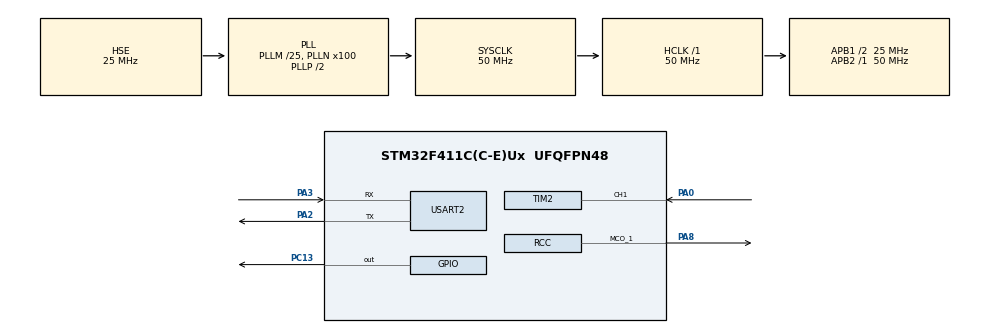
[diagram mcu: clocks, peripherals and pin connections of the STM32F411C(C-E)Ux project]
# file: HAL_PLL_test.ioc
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Mcu.Family=STM32F4
Mcu.Name=STM32F411C(C-E)Ux
Mcu.Package=UFQFPN48
NVIC.PriorityGroup=NVIC_PRIORITYGROUP_4
NVIC.TIM2_IRQn=true\:0\:0\:false\:false\:true\:true\:true\:true
PA0-WKUP.GPIO_Speed=GPIO_SPEED_FREQ_VERY_HIGH
PA0-WKUP.Signal=S_TIM2_CH1_ETR
PA2.Mode=Asynchronous
PA2.Signal=USART2_TX
PA3.Mode=Asynchronous
PA3.Signal=USART2_RX
PA8.GPIO_Speed=GPIO_SPEED_FREQ_VERY_HIGH
PA8.Mode=Clock-out-1
PA8.Signal=RCC_MCO_1
PC13-ANTI_TAMP.Signal=GPIO_Output
PC14-OSC32_IN.Mode=LSE-External-Oscillator
PC14-OSC32_IN.Signal=RCC_OSC32_IN
PC15-OSC32_OUT.Mode=LSE-External-Oscillator
PC15-OSC32_OUT.Signal=RCC_OSC32_OUT
PH0\ -\ OSC_IN.Mode=HSE-External-Oscillator
PH0\ -\ OSC_IN.Signal=RCC_OSC_IN
PH1\ -\ OSC_OUT.Mode=HSE-External-Oscillator
PH1\ -\ OSC_OUT.Signal=RCC_OSC_OUT
ProjectManager.HeapSize=0x200
ProjectManager.StackSize=0x400
ProjectManager.TargetToolchain=CMake
RCC.48MHZClocksFreq_Value=25000000
RCC.AHBFreq_Value=50000000
RCC.APB1CLKDivider=RCC_HCLK_DIV2
RCC.APB1Freq_Value=25000000
RCC.APB1TimFreq_Value=50000000
RCC.APB2Freq_Value=50000000
RCC.APB2TimFreq_Value=50000000
RCC.CortexFreq_Value=50000000
RCC.HCLKFreq_Value=50000000
RCC.HSE_VALUE=25000000
RCC.HSI_VALUE=16000000
RCC.PLLM=25
RCC.PLLN=100
RCC.PLLSourceVirtual=RCC_PLLSOURCE_HSE
RCC.RCC_MCO1Source=RCC_MCO1SOURCE_LSE
RCC.SYSCLKFreq_VALUE=50000000
RCC.SYSCLKSource=RCC_SYSCLKSOURCE_PLLCLK
RCC.VCOOutputFreq_Value=100000000
SH.S_TIM2_CH1_ETR.0=TIM2_CH1,Input_Capture1_from_TI1
TIM2.AutoReloadPreload=TIM_AUTORELOAD_PRELOAD_ENABLE
TIM2.Channel-Input_Capture1_from_TI1=TIM_CHANNEL_1
TIM2.Period=49999999
TIM2.Prescaler=0
USART2.VirtualMode=VM_ASYNC
VP_TIM2_VS_ClockSourceINT.Mode=Internal
board=custom

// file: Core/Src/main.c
/* USER CODE BEGIN Header */
/**
  ******************************************************************************
  * @file           : main.c
  * @brief          : Main program body
  ******************************************************************************
  * @attention
  *
  * Copyright (c) 2026 STMicroelectronics.
  * All rights reserved.
  *
  * This software is licensed under terms that can be found in the LICENSE file
  * in the root directory of this software component.
  * If no LICENSE file comes with this software, it is provided AS-IS.
  *
  ******************************************************************************
  */
/* USER CODE END Header */
#include "main.h"

/* USER CODE BEGIN Includes */
#include <stdio.h>
#include <string.h>
/* USER CODE END Includes */

TIM_HandleTypeDef htim2;

UART_HandleTypeDef huart2;

/* USER CODE BEGIN PV */
volatile uint32_t capture_status = 0;
volatile uint32_t capture_diff = 0;
char usr_msg[100];

/* USER CODE END PV */

void SystemClock_Config(void);
static void MX_GPIO_Init(void);
static void MX_TIM2_Init(void);
static void MX_USART2_UART_Init(void);

int main(void)
{

  /* MCU Configuration--------------------------------------------------------*/

  /* Reset of all peripherals, Initializes the Flash interface and the Systick. */
  HAL_Init();

  /* Configure the system clock */
  SystemClock_Config();

  /* Initialize all configured peripherals */
  MX_GPIO_Init();
  MX_TIM2_Init();
  MX_USART2_UART_Init();
  /* USER CODE BEGIN 2 */
  HAL_TIM_IC_Start_IT(&htim2, TIM_CHANNEL_1);
  /* Blocking timer
   * HAL_TIM_Base_Start(&htim2);
   * while(1)
   * {
   *    while(!(TIM2->SR & TIM_SR_UIF));
   *    HAL_GPIO_TogglePin(GPIOC, GPIO_PIN_13);
   *
   * }
   */
  /* USER CODE END 2 */

  /* Infinite loop */
  /* USER CODE BEGIN WHILE */
  while (1)
  {
    if (capture_status)
    {
      if (capture_diff != 0)
      {
        double timer_hz = (double) (HAL_RCC_GetPCLK1Freq() * 2U) / (htim2.Init.Prescaler + 1);
        double signal_freq = timer_hz / capture_diff;

        sprintf(usr_msg, "Frequency = %lu Hz\r\n",(unsigned long) signal_freq);
        HAL_UART_Transmit(&huart2,(uint8_t*)usr_msg,strlen(usr_msg),HAL_MAX_DELAY);
        capture_status = 0;
      }
    }
    /* USER CODE END WHILE */

  }
}

void SystemClock_Config(void)
{
  RCC_OscInitTypeDef RCC_OscInitStruct = {0};
  RCC_ClkInitTypeDef RCC_ClkInitStruct = {0};

  /** Configure the main internal regulator output voltage
  */
  __HAL_RCC_PWR_CLK_ENABLE();
  __HAL_PWR_VOLTAGESCALING_CONFIG(PWR_REGULATOR_VOLTAGE_SCALE1);

  /** Initializes the RCC Oscillators according to the specified parameters
  * in the RCC_OscInitTypeDef structure.
  */
  RCC_OscInitStruct.OscillatorType = RCC_OSCILLATORTYPE_HSE|RCC_OSCILLATORTYPE_LSE;
  RCC_OscInitStruct.HSEState = RCC_HSE_ON;
  RCC_OscInitStruct.LSEState = RCC_LSE_ON;
  RCC_OscInitStruct.PLL.PLLState = RCC_PLL_ON;
  RCC_OscInitStruct.PLL.PLLSource = RCC_PLLSOURCE_HSE;
  RCC_OscInitStruct.PLL.PLLM = 25;
  RCC_OscInitStruct.PLL.PLLN = 100;
  RCC_OscInitStruct.PLL.PLLP = RCC_PLLP_DIV2;
  RCC_OscInitStruct.PLL.PLLQ = 4;
  if (HAL_RCC_OscConfig(&RCC_OscInitStruct) != HAL_OK)
  {
    Error_Handler();
  }

  /** Initializes the CPU, AHB and APB buses clocks
  */
  RCC_ClkInitStruct.ClockType = RCC_CLOCKTYPE_HCLK|RCC_CLOCKTYPE_SYSCLK
                              |RCC_CLOCKTYPE_PCLK1|RCC_CLOCKTYPE_PCLK2;
  RCC_ClkInitStruct.SYSCLKSource = RCC_SYSCLKSOURCE_PLLCLK;
  RCC_ClkInitStruct.AHBCLKDivider = RCC_SYSCLK_DIV1;
  RCC_ClkInitStruct.APB1CLKDivider = RCC_HCLK_DIV2;
  RCC_ClkInitStruct.APB2CLKDivider = RCC_HCLK_DIV1;

  if (HAL_RCC_ClockConfig(&RCC_ClkInitStruct, FLASH_LATENCY_1) != HAL_OK)
  {
    Error_Handler();
  }
  HAL_RCC_MCOConfig(RCC_MCO1, RCC_MCO1SOURCE_LSE, RCC_MCODIV_1);
}

static void MX_TIM2_Init(void)
{

  TIM_ClockConfigTypeDef sClockSourceConfig = {0};
  TIM_MasterConfigTypeDef sMasterConfig = {0};
  TIM_IC_InitTypeDef sConfigIC = {0};

  htim2.Instance = TIM2;
  htim2.Init.Prescaler = 0;
  htim2.Init.CounterMode = TIM_COUNTERMODE_UP;
  htim2.Init.Period = 49999999;
  htim2.Init.ClockDivision = TIM_CLOCKDIVISION_DIV1;
  htim2.Init.AutoReloadPreload = TIM_AUTORELOAD_PRELOAD_ENABLE;
  if (HAL_TIM_Base_Init(&htim2) != HAL_OK)
  {
    Error_Handler();
  }
  sClockSourceConfig.ClockSource = TIM_CLOCKSOURCE_INTERNAL;
  if (HAL_TIM_ConfigClockSource(&htim2, &sClockSourceConfig) != HAL_OK)
  {
    Error_Handler();
  }
  if (HAL_TIM_IC_Init(&htim2) != HAL_OK)
  {
    Error_Handler();
  }
  sMasterConfig.MasterOutputTrigger = TIM_TRGO_RESET;
  sMasterConfig.MasterSlaveMode = TIM_MASTERSLAVEMODE_DISABLE;
  if (HAL_TIMEx_MasterConfigSynchronization(&htim2, &sMasterConfig) != HAL_OK)
  {
    Error_Handler();
  }
  sConfigIC.ICPolarity = TIM_INPUTCHANNELPOLARITY_RISING;
  sConfigIC.ICSelection = TIM_ICSELECTION_DIRECTTI;
  sConfigIC.ICPrescaler = TIM_ICPSC_DIV1;
  sConfigIC.ICFilter = 0;
  if (HAL_TIM_IC_ConfigChannel(&htim2, &sConfigIC, TIM_CHANNEL_1) != HAL_OK)
  {
    Error_Handler();
  }

}

static void MX_USART2_UART_Init(void)
{

  huart2.Instance = USART2;
  huart2.Init.BaudRate = 115200;
  huart2.Init.WordLength = UART_WORDLENGTH_8B;
  huart2.Init.StopBits = UART_STOPBITS_1;
  huart2.Init.Parity = UART_PARITY_NONE;
  huart2.Init.Mode = UART_MODE_TX_RX;
  huart2.Init.HwFlowCtl = UART_HWCONTROL_NONE;
  huart2.Init.OverSampling = UART_OVERSAMPLING_16;
  if (HAL_UART_Init(&huart2) != HAL_OK)
  {
    Error_Handler();
  }

}

static void MX_GPIO_Init(void)
{
  GPIO_InitTypeDef GPIO_InitStruct = {0};

  /* GPIO Ports Clock Enable */
  __HAL_RCC_GPIOC_CLK_ENABLE();
  __HAL_RCC_GPIOH_CLK_ENABLE();
  __HAL_RCC_GPIOA_CLK_ENABLE();

  /*Configure GPIO pin Output Level */
  HAL_GPIO_WritePin(GPIOC, GPIO_PIN_13, GPIO_PIN_RESET);

  /*Configure GPIO pin : PC13 */
  GPIO_InitStruct.Pin = GPIO_PIN_13;
  GPIO_InitStruct.Mode = GPIO_MODE_OUTPUT_PP;
  GPIO_InitStruct.Pull = GPIO_NOPULL;
  GPIO_InitStruct.Speed = GPIO_SPEED_FREQ_LOW;
  HAL_GPIO_Init(GPIOC, &GPIO_InitStruct);

  /*Configure GPIO pin : PA8 */
  GPIO_InitStruct.Pin = GPIO_PIN_8;
  GPIO_InitStruct.Mode = GPIO_MODE_AF_PP;
  GPIO_InitStruct.Pull = GPIO_NOPULL;
  GPIO_InitStruct.Speed = GPIO_SPEED_FREQ_VERY_HIGH;
  GPIO_InitStruct.Alternate = GPIO_AF0_MCO;
  HAL_GPIO_Init(GPIOA, &GPIO_InitStruct);

}

/* USER CODE BEGIN 4 */
void HAL_TIM_PeriodElapsedCallback(TIM_HandleTypeDef *htim)
{
  if (htim->Instance == TIM2)
  {
    HAL_GPIO_TogglePin(GPIOC, GPIO_PIN_13);
  }
}

void HAL_TIM_IC_CaptureCallback(TIM_HandleTypeDef *htim)
{
  static uint32_t input_captures[2] = {0};
  static uint8_t count = 1;
  if (!capture_status)
  {
    if (count == 1)
    {
      input_captures[0] = __HAL_TIM_GET_COMPARE(htim, TIM_CHANNEL_1);
      count++;
    }
    else if (count == 2)
    {
      input_captures[1] = __HAL_TIM_GET_COMPARE(htim, TIM_CHANNEL_1);

      capture_diff = (input_captures[1] > input_captures[0])
                   ? input_captures[1] - input_captures[0]
                   : (htim2.Init.Period - input_captures[0] + input_captures[1] + 1);
      capture_status = 1;
      count = 1;
    }
  }
}
/* USER CODE END 4 */

void Error_Handler(void)
{
  __disable_irq();
  while (1)
  {
  }
}
